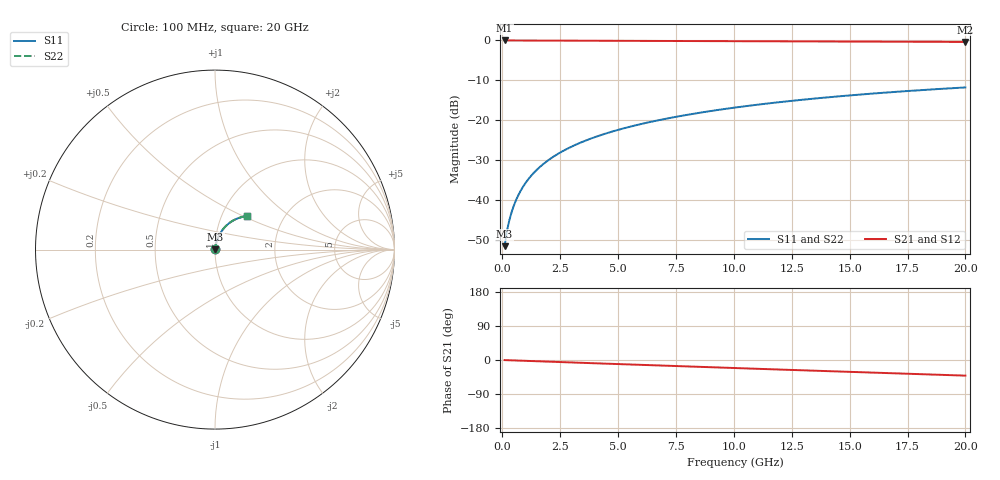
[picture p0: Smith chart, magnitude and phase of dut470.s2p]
! Touchstone file exported from HFSS 2026.1.0
!  File:  C:/ffzhzh/LocalFiles/Ansys_Project_Files/temp_train_BSMRDL_470_1783013647_4048.aedt
!  Generated:  01:35:32 AM Jul  3, 2026
!  Design:  BSMRDL
!  Project:  temp_train_BSMRDL_470_1783013647_4048
! Variables:
!  h_bsmrdl = 5.63um
!  h_ox = 20um
!  h_rdl = 5um
!  h_sub = 80um
!  h_tmrdl = 5um
!  h_tsv = 80um
!  h_via = 3um
!  l_bsmrdl = 673.99um
!  l_sub = 1073.99um
!  l_tmrdl = 200um
!  m_sub = 200um
!  pitch = 43.61um
!  r_tsv = 6um
!  s_tmrdl = 10um
!  w_bsmrdl = 26.14um
!  w_sub = 500um
!  w_tmrdl = 12um
!  x_tsv_center1 = 206um
!  x_tsv_center2 = 906.13um
!  x_tsv_center3 = 1118.13um
!  x_tsv_center4 = 1818.26um
!  x_tsv_center5 = 2030.26um
!  x_tsv_center6 = 2730.39um
# GHz S MA R 50.000000
! Terminal data exported
! Port[1] = BSM_RDL1_1_T1
! Port[2] = BSM_RDL1_1_T2
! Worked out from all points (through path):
!   200 points, 100 MHz to 20 GHz, reference 50 ohm
!   highest |S21| = -0.02 dB at 100 MHz (marker M1); lowest = -0.4 dB at 20 GHz (marker M2)
!   group delay of S21, straight-line fit = 5.72 ps
!   lowest |S11| = -51.7 dB at 100 MHz (marker M3), VSWR 1.01, Z = 50.2 + j0.184 ohm
!   |S11| at or under -10 dB: start of sweep to end of sweep
!   |S22| runs from -51.7 to -11.8 dB; largest |S21 - S12| = 2.6e-15
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0.1  0.002608 44.6  0.9981 -0.2  0.9981 -0.2  0.002608 44.6
! Gamma 0 0 0 0
! Port Impedance 50 0 50 0
0.2  0.004026 59.1  0.998 -0.5  0.998 -0.5  0.004026 59.1
0.3  0.005473 66.1  0.9978 -0.7  0.9978 -0.7  0.005473 66.1
0.4  0.006948 70.3  0.9977 -0.9  0.9977 -0.9  0.006948 70.3
0.5  0.00845 73.1  0.9977 -1.1  0.9977 -1.1  0.00845 73.1
0.6  0.009972 75.0  0.9976 -1.3  0.9976 -1.3  0.009972 75.0
0.8  0.01305 77.4  0.9975 -1.8  0.9975 -1.8  0.01305 77.4
1.1  0.01769 79.0  0.9972 -2.4  0.9972 -2.4  0.01769 79.0
1.3  0.02079 79.5  0.997 -2.9  0.997 -2.9  0.02079 79.5
1.5  0.02387 79.7  0.9968 -3.3  0.9968 -3.3  0.02387 79.7
1.8  0.02848 79.7  0.9965 -3.9  0.9965 -3.9  0.02848 79.7
2.1  0.03304 79.5  0.9961 -4.6  0.9961 -4.6  0.03304 79.5
2.7  0.04204 78.8  0.9952 -5.9  0.9952 -5.9  0.04204 78.8
3.5  0.05379 77.5  0.9939 -7.6  0.9939 -7.6  0.05379 77.5
4.2  0.06389 76.3  0.9928 -9.1  0.9928 -9.1  0.06389 76.3
5  0.07525 74.8  0.9914 -10.8  0.9914 -10.8  0.07525 74.8
6.8  0.1002 71.6  0.9881 -14.5  0.9881 -14.5  0.1002 71.6
8.3  0.1205 68.8  0.9851 -17.6  0.9851 -17.6  0.1205 68.8
10.1  0.1441 65.3  0.9812 -21.4  0.9812 -21.4  0.1441 65.3
13.4  0.1851 59.0  0.9733 -28.1  0.9733 -28.1  0.1851 59.0
16.7  0.2228 52.7  0.9646 -34.7  0.9646 -34.7  0.2228 52.7
20  0.2567 46.4  0.9555 -41.2  0.9555 -41.2  0.2567 46.4
